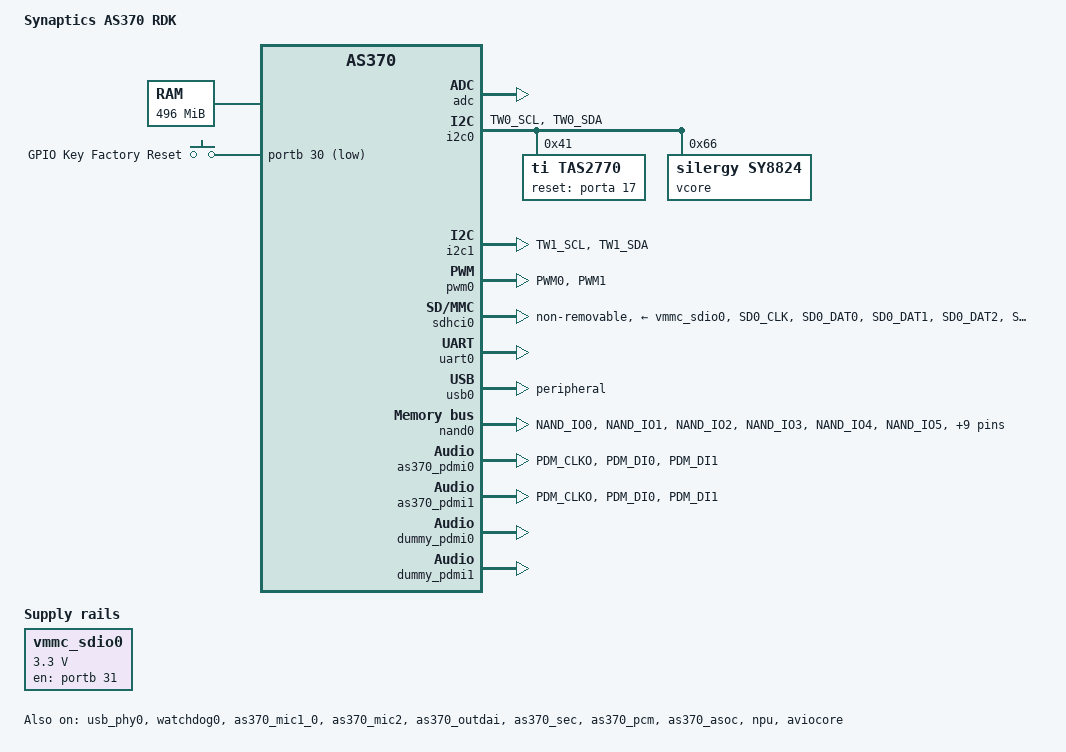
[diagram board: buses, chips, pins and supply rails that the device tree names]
// SPDX-License-Identifier: (GPL-2.0 OR MIT)
/*
 * Copyright (C) 2018 Synaptics Incorporated
 *
 * Author: Jisheng Zhang <jszhang@kernel.org>
 */

/dts-v1/;

/memreserve/ 0x1ff00000 0x00100000;

#include <dt-bindings/gpio/gpio.h>
#include <dt-bindings/input/input.h>

#include "as370.dtsi"

/ {
	model = "Synaptics AS370 RDK";
	compatible = "syna,as370-rdk", "syna,as370";

	aliases {
		i2c0 = &i2c0;
		i2c1 = &i2c1;
	};

	cpus {
		cpu@0 {
			cpu0-supply = <&vcore>;
		};
	};

	chosen {
		bootargs = "root=/dev/mtdblock7 rootfstype=squashfs";
		stdout-path = "serial0:115200n8";
	};

	memory {
		device_type = "memory";
		reg = <0 0x01000000 0 0x1f000000>;
	};

	ion {
		compatible = "syna,ion-berlin-heaps";
		pool-num = <1>;
		reg-names = "NonSecure";
		reg = <0 0x1ff00000 0 0x100000>;
		attributes-num-per-pool = <2>;
		pool-attributes = <0x00000102 0x00000F36>;
	};

	regulators {
		compatible = "simple-bus";
		#address-cells = <1>;
		#size-cells = <0>;

		vmmc_sdio0: vmmc_sdio0 {
			compatible = "regulator-fixed";
			regulator-min-microvolt = <3300000>;
			regulator-max-microvolt = <3300000>;
			regulator-name = "vmmc_sdio0";
			enable-active-high;
			regulator-boot-on;
			gpio = <&portb 31 GPIO_ACTIVE_HIGH>;
		};
	};

	gpio-keys {
		compatible = "gpio-keys";
		pinctrl-0 = <&gpio_keys_pmux>;
		pinctrl-names = "default";

		factory_reset {
			wakeup-source;
			label = "GPIO Key Factory Reset";
			gpios = <&portb 30 GPIO_ACTIVE_LOW>;
			linux,code = <KEY_RESTART>;
		};
	};
};

&adc {
	status = "okay";
	syna,adc-vref = <1800>;
};

&pinctrl {
	gpio_keys_pmux: gpio_keys_pmux {
		groups = "SD0_CDn";
		function = "gpio";
	};

	i2c0_pmux: i2c0-pmux {
		groups = "TW0_SCL", "TW0_SDA";
		function = "tw0";
	};

	i2c1_pmux: i2c1-pmux {
		groups = "TW1_SCL", "TW1_SDA";
		function = "tw1";
	};

	nand_pmux: nand-pmux {
		groups = "NAND_IO0", "NAND_IO1", "NAND_IO2", "NAND_IO3", "NAND_IO4", "NAND_IO5", "NAND_IO6", "NAND_IO7", "NAND_ALE", "NAND_CLE", "NAND_WEn", "NAND_REn", "NAND_WPn", "NAND_CEn", "NAND_RDY";
		function = "nand";
	};

	pwm0_pmux: pwm0-pmux {
		groups = "PWM0", "PWM1";
		function = "pwm";
	};

	sd0_pmux: sd0-pmux {
		groups = "SD0_CLK", "SD0_DAT0", "SD0_DAT1", "SD0_DAT2", "SD0_DAT3", "SD0_CMD";
		function = "sd0";
	};

	sd0_gpio_pmux: sd0_gpio-pmux {
		groups = "SD0_WP";
		function = "gpio";
	};

	i2s1_pmux: i2s1-pmux {
		groups = "I2S1_BCLKIO", "I2S1_LRCKIO", "I2S1_DO0", "I2S1_MCLK";
		function = "i2s1";
	};

	i2s2_pmux: i2s2-pmux {
		groups = "I2S2_BCLKIO", "I2S2_LRCKIO", "I2S2_DI0";
		function = "i2s2";
	};

	spdifo_pmux: spdifo-pmux {
		groups = "I2S1_DO3";
		function = "spdifo";
	};

	pdm_pmux: pdm-pmux {
		groups = "PDM_CLKO", "PDM_DI0", "PDM_DI1";
		function = "pdm";
	};

	i2s3_pmux: i2s3-pmux {
		groups = "I2S3_DI", "I2S3_DO", "I2S3_BCLKIO", "I2S3_LRCKIO";
		function = "i2s3";
	};

	mute_pmux: mute-pmux {
		groups = "I2S2_DI2";
		function = "gpio";
	};
};

&i2c0 {
	status = "okay";
	pinctrl-0 = <&i2c0_pmux>;
	pinctrl-names = "default";

	tas2770: tas2770@41 {
		#sound-dai-cells = <0>;
		compatible = "ti,tas2770";
		reg = <0x41>;
		ti,asi-format = <0>;
		ti,reset-gpio = <&porta 17 GPIO_ACTIVE_HIGH>;
		ti,left-slot = <0>;
		ti,right-slot = <1>;
		ti,imon-slot-no = <0>;
		ti,vmon-slot-no = <4>;
	};

	vcore: regulator@66 {
		compatible = "silergy,sy8824";
		regulator-name = "vcore";
		regulator-min-microvolt = <800000>;
		regulator-max-microvolt = <1150000>;
		regulator-max-step-microvolt = <12500>;
		regulator-always-on;
		regulator-boot-on;
		reg = <0x66>;
	};
};

&i2c1 {
	status = "okay";
	pinctrl-0 = <&i2c1_pmux>;
	pinctrl-names = "default";
};

&pwm0 {
	status = "okay";
	pinctrl-0 = <&pwm0_pmux>;
	pinctrl-names = "default";
};

&sdhci0 {
	status = "okay";
	broken-cd;
	non-removable;
	vmmc-supply = <&vmmc_sdio0>;
	pinctrl-0 = <&sd0_pmux>, <&sd0_gpio_pmux>;
	pinctrl-names = "default";
};

&uart0 {
	status = "okay";
};

&usb_phy0 {
	status = "okay";
};

&usb0 {
	dr_mode = "peripheral";
	status = "okay";
};

&watchdog0 {
	status = "okay";
};

&nand0 {
	status = "okay";
	pinctrl-0 = <&nand_pmux>;
	pinctrl-names = "default";
	nand-ecc-step-size = <2048>;
	nand-ecc-strength = <48>;
	zos-end = <0x240000>;

	partitions {
		compatible = "fixed-partitions";
		#address-cells = <1>;
		#size-cells = <1>;

		partition_block0 {
			label = "block0";
			reg = <0x00000 0x40000>;	/* 256 KiB */
			read-only;
		};

		partition_prebootloader {
			label = "prebootloader";
			reg = <0x040000 0x200000>;	/* 2 MiB */
			read-only;
		};

		partition_tz {
			label = "TZ";
			reg = <0x240000 0x800000>;	/* 8 MiB */
			read-only;
		};

		partition_tz_b {
			label = "TZ-B";
			reg = <0xa40000 0x800000>;	/* 8 MiB */
			read-only;
		};

		partition_postbootloader {
			label = "postbootloader";
			reg = <0x1240000 0x100000>;	/* 1 MiB */
			read-only;
		};

		partition_postbootloader_b {
			label = "postbootloader-B";
			reg = <0x1340000 0x100000>;	/* 1 MiB */
			read-only;
		};

		partition_kernel {
			label = "kernel";
			reg = <0x1440000 0xa00000>;	/* 10 MiB */
			read-only;
		};

		partition_rootfs {
			label = "rootfs";
			reg = <0x1e40000 0xb400000>;	/* 180 MiB */
			read-only;
		};

		partition_cache {
			label = "cache";
			reg = <0xd240000 0x118c0000>;	/* 287,488 KiB */
		};

		partition_recovery {
			label = "recovery";
			reg = <0x1eb00000 0xf00000>;	/* 15 MiB */
		};

		partition_fts {
			label = "fts";
			reg = <0x1fa00000 0x100000>;	/* 1 MiB */
		};

		partition_factory_store {
			label = "factory_store";
			reg = <0x1fb00000 0x300000>;	/* 3 MiB */
		};

		partition_bbt {
			label = "bbt";
			reg = <0x1fe00000 0x200000>;	/* 2 MiB */
			read-only;
		};
	};
};

&as370_pdmi0 {
	status = "okay";
	pinctrl-0 = <&pdm_pmux>;
	pinctrl-names = "default";
	max-ch-inuse = <3>;
};

&as370_pdmi1 {
	status = "okay";
	pinctrl-0 = <&pdm_pmux>;
	pinctrl-names = "default";
};

&as370_mic1_0 {
	status = "okay";
	pinctrl-0 = <&i2s2_pmux>;
	pinctrl-names = "default";
};

&as370_mic2 {
	status = "okay";
	pinctrl-0 = <&i2s3_pmux>;
	pinctrl-names = "default";
};

&as370_outdai {
	status = "okay";
	pinctrl-0 = <&i2s1_pmux>, <&spdifo_pmux>;
	pinctrl-names = "default";
	interrupts = <0>;
	interrupt-names = "pri";
};

&as370_sec {
	status = "okay";
	pinctrl-0 = <&i2s3_pmux>;
	pinctrl-names = "default";
};

&as370_pcm {
	status = "okay";
};

&as370_asoc {
	status = "okay";
	pinctrl-0 = <&mute_pmux>;
	pinctrl-names = "default";
	mute-gpios = <&porta 11 GPIO_ACTIVE_HIGH>;

	dummy_pdmi0: dummy-pdmi0 {
		status = "okay";
		stream-name = "dummy-pdmi0";
		link-name = "dummy-pdmi0";
		cpu-node = <&as370_pdmi0>;
		codec-name = "snd-soc-dummy";
		codec-dai-name = "snd-soc-dummy-dai";
		platform-node = <&as370_pcm>;
	};

	outdai_tas2770: outdai-tas2770 {
		status = "okay";
		stream-name = "outdai-tas2770";
		link-name = "outdai-tas2770";
		cpu-node = <&as370_outdai>;
		codec-node = <&tas2770>;
		codec-dai-name = "tas2770 ASI1";
		platform-node = <&as370_pcm>;
		format = "i2s";
	};

	dummy_pdmi1: dummy-pdmi1 {
		status = "okay";
		stream-name = "dummy-pdmi1";
		link-name = "dummy-pdmi1";
		cpu-node = <&as370_pdmi1>;
		codec-name = "snd-soc-dummy";
		codec-dai-name = "snd-soc-dummy-dai";
		platform-node = <&as370_pcm>;
	};

	tas2770_mic1: tas2770-mic1 {
		status = "okay";
		stream-name = "tas2770-mic1";
		link-name = "tas2770-mic1";
		cpu-node = <&as370_mic1_0>;
		codec-node = <&tas2770>;
		codec-dai-name = "tas2770 ASI1";
		platform-node = <&as370_pcm>;
		format = "i2s";
	};
};

&npu {
	status = "okay";
};

&aviocore {
	status = "okay";
};
